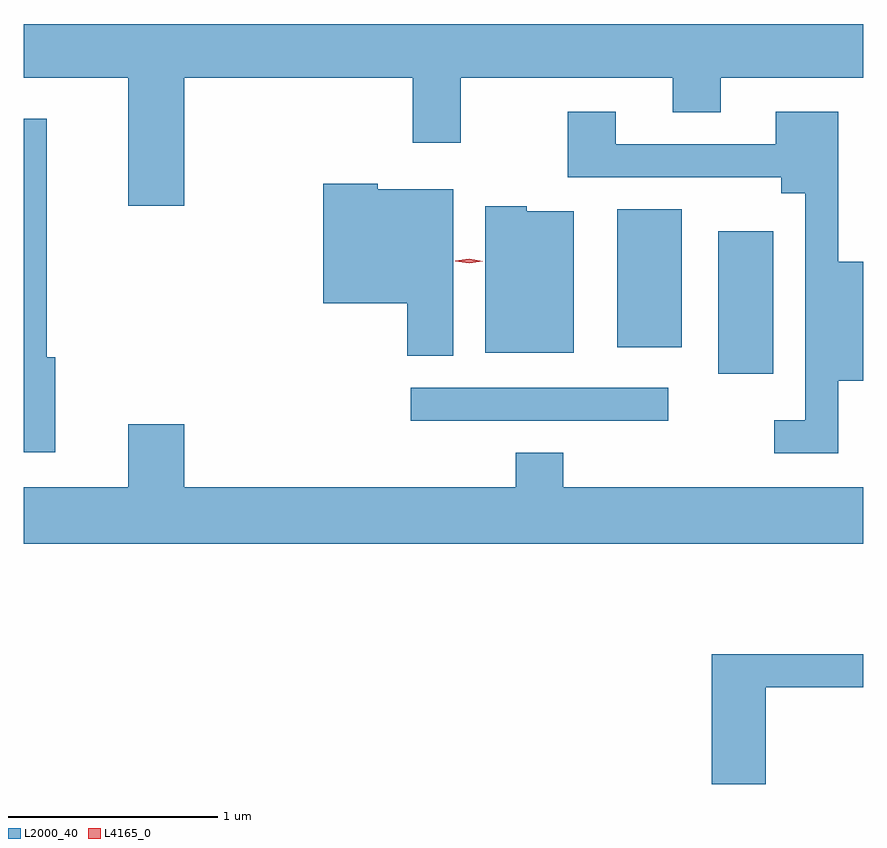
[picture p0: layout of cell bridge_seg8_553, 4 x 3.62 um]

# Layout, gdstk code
import gdstk
lib = gdstk.Library(unit=1e-6, precision=1e-09)
def R(c, l, rs):  # rectangles x0, y0, x1, y1
    for r in rs: c.add(gdstk.rectangle(r[:2], r[2:], *l))
def P(c, l, *ps):  # polygons
    for p in ps: c.add(gdstk.Polygon(p, *l))
L2000_40 = (2000, 40)
L4165_0 = (4165, 0)

bridge_seg8_553 = lib.new_cell('bridge_seg8_553')
R(bridge_seg8_553, L2000_40, [(416.223,1828.121,417.448,1828.279), (417.686,1828.346,417.949,1829.024), (417.206,1828.471,417.514,1829.129)])
P(bridge_seg8_553, L2000_40, [(416.231,1829.446),(416.459,1829.446),(416.459,1829.756),(417.471,1829.756),(417.471,1829.591),(417.699,1829.591),(417.699,1829.756),(418.378,1829.756),(418.378,1830.011),(414.378,1830.011),(414.378,1829.756),(414.876,1829.756),(414.876,1829.146),(415.144,1829.146),(415.144,1829.756),(416.231,1829.756)],
  [(418.259,1828.311),(418.378,1828.311),(418.378,1828.879),(418.259,1828.879),(418.259,1829.594),(417.961,1829.594),(417.961,1829.439),(417.199,1829.439),(417.199,1829.594),(416.971,1829.594),(416.971,1829.281),(417.986,1829.281),(417.986,1829.206),(418.101,1829.206),(418.101,1828.124),(417.953,1828.124),(417.953,1827.966),(418.259,1827.966)],
  [(414.529,1828.424),(414.489,1828.424),(414.489,1829.559),(414.378,1829.559),(414.378,1827.971),(414.529,1827.971)],
  [(416.424,1829.224),(416.064,1829.224),(416.064,1829.249),(415.806,1829.249),(415.806,1828.681),(416.206,1828.681),(416.206,1828.431),(416.424,1828.431)],
  [(416.999,1829.119),(416.774,1829.119),(416.774,1829.144),(416.576,1829.144),(416.576,1828.446),(416.999,1828.446)],
  [(418.378,1827.804),(416.949,1827.804),(416.949,1827.969),(416.721,1827.969),(416.721,1827.804),(415.144,1827.804),(415.144,1828.104),(414.876,1828.104),(414.876,1827.804),(414.378,1827.804),(414.378,1827.536),(418.378,1827.536)],
  [(417.914,1826.851),(418.378,1826.851),(418.378,1827.009),(417.656,1827.009),(417.656,1826.391),(417.914,1826.391)])
P(bridge_seg8_553, L4165_0, [(416.5,1828.872),(416.434,1828.882),(416.434,1828.883),(416.434,1828.884),(416.5,1828.892),(416.566,1828.882),(416.566,1828.882),(416.566,1828.881)])

lib.write_gds('bridge_seg8_553.gds')
